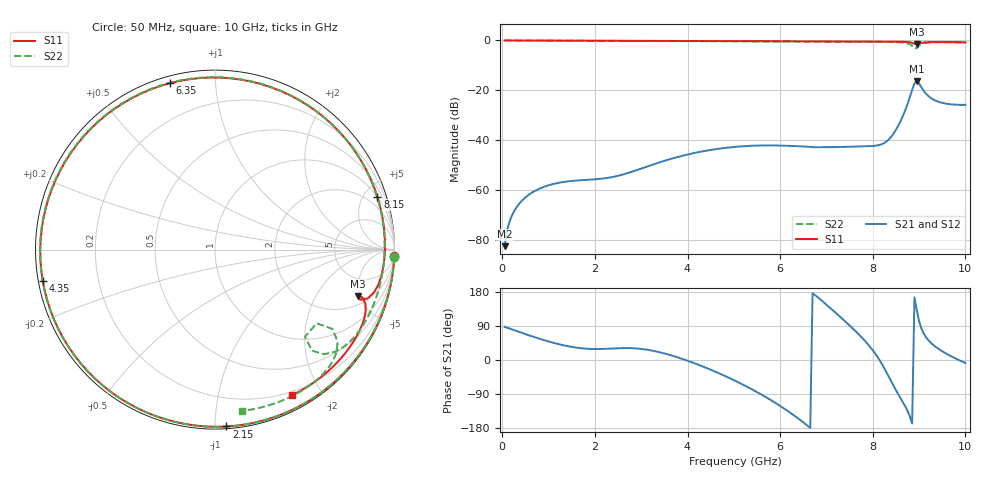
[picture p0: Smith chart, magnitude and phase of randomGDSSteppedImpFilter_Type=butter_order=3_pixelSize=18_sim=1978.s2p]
! freq	dB(S11)	phase(S11)	dB(S12)	phase(S12)
!  dB(S21)	phase(S21)	dB(S22)	phase(S22)
!S-par simulation data
#  GHz  S  DB  R 50
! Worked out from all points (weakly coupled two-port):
!   200 points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, 50 MHz to 10 GHz, reference 50 ohm
!   highest |S21| = -16.36 dB at 8.95 GHz (marker M1); lowest = -82.7 dB at 50 MHz (marker M2)
!   lowest |S11| = -1.5 dB at 8.95 GHz (marker M3), VSWR 11.40, Z = 137 - j239 ohm
!   |S11| at or under -10 dB: nowhere
!   |S22| runs from -3.1 to 0.0 dB; largest |S21 - S12| = 0
!   S11 on the Smith chart (normalised r, x): 50 MHz: 1, -55; 2.15 GHz: 0.01, -1.07; 4.35 GHz: 0.01, -0.09; 6.35 GHz: 0.03, +0.76; 8.15 GHz: 1.00, +6.17; 10 GHz: 0.16, -1.65
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0.05  -0.00 -2.1  -82.68 87.5  -82.68 87.5  -0.00 -2.4
0.25  -0.01 -10.4  -68.80 79.0  -68.80 79.0  -0.02 -11.7
0.55  -0.03 -22.7  -62.32 66.2  -62.32 66.2  -0.03 -25.7
1.15  -0.06 -47.1  -57.47 43.9  -57.47 43.9  -0.07 -53.1
1.75  -0.09 -70.8  -56.11 30.5  -56.11 30.5  -0.10 -79.7
2.15  -0.11 -86.4  -55.55 29.2  -55.55 29.2  -0.12 -96.9
2.75  -0.14 -109.2  -53.06 31.4  -53.06 31.4  -0.15 -122.2
3.4  -0.17 -133.6  -48.97 20.4  -48.97 20.4  -0.18 -149.2
4.35  -0.22 -169.8  -44.48 -18.1  -44.48 -18.1  -0.23 170.6
5.05  -0.27 162.3  -42.73 -56.1  -42.73 -56.1  -0.28 139.5
5.75  -0.31 132.5  -42.18 -102.2  -42.18 -102.2  -0.33 106.6
6.35  -0.35 105.3  -42.48 -150.7  -42.48 -150.7  -0.36 77.2
6.7  -0.37 88.7  -42.87 176.1  -42.87 176.1  -0.38 59.8
7.45  -0.40 52.2  -42.74 96.7  -42.74 96.7  -0.44 22.9
8.15  -0.43 18.0  -41.97 -1.1  -41.97 -1.1  -0.53 -10.3
8.35  -0.45 8.2  -39.72 -45.1  -39.72 -45.1  -0.59 -19.6
8.6  -0.50 -4.1  -32.41 -100.7  -32.41 -100.7  -0.76 -32.0
8.8  -0.74 -15.0  -22.83 -148.4  -22.83 -148.4  -1.49 -43.8
8.95  -1.53 -18.0  -16.36 131.3  -16.36 131.3  -3.11 -35.9
9.05  -1.00 -19.8  -18.84 83.2  -18.84 83.2  -1.35 -37.0
9.35  -0.66 -34.3  -24.13 35.5  -24.13 35.5  -0.70 -54.2
10  -0.75 -62.1  -25.89 -7.8  -25.89 -7.8  -0.81 -80.6
